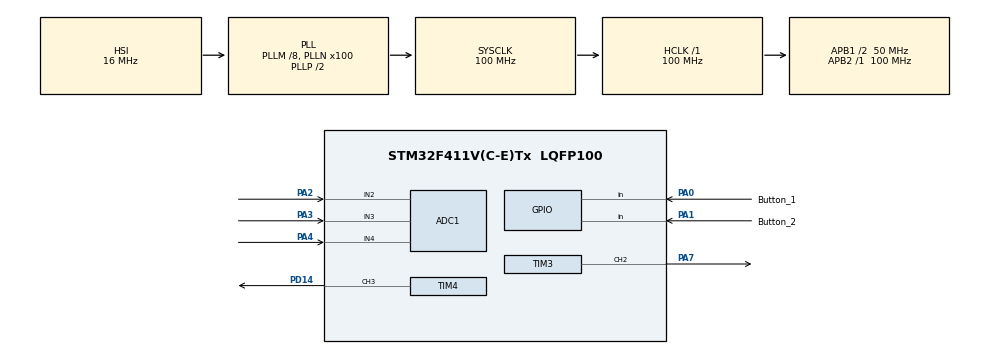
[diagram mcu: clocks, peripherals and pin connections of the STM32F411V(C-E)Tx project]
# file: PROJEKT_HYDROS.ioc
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ADC1.Channel-0\#ChannelRegularConversion=ADC_CHANNEL_2
ADC1.Channel-1\#ChannelRegularConversion=ADC_CHANNEL_3
ADC1.Channel-2\#ChannelRegularConversion=ADC_CHANNEL_4
ADC1.ClockPrescaler=ADC_CLOCKPRESCALER_PCLK_DIV8
ADC1.ContinuousConvMode=ENABLE
ADC1.DMAContinuousRequests=ENABLE
ADC1.NbrOfConversion=3
ADC1.NbrOfConversionFlag=1
ADC1.Rank-0\#ChannelRegularConversion=1
ADC1.Rank-1\#ChannelRegularConversion=2
ADC1.Rank-2\#ChannelRegularConversion=3
ADC1.SamplingTime-0\#ChannelRegularConversion=ADC_SAMPLETIME_480CYCLES
ADC1.SamplingTime-1\#ChannelRegularConversion=ADC_SAMPLETIME_480CYCLES
ADC1.SamplingTime-2\#ChannelRegularConversion=ADC_SAMPLETIME_480CYCLES
ADC1.ScanConvMode=ENABLE
ADC1.master=1
Dma.ADC1.1.Direction=DMA_PERIPH_TO_MEMORY
Dma.ADC1.1.FIFOMode=DMA_FIFOMODE_DISABLE
Dma.ADC1.1.Instance=DMA2_Stream0
Dma.ADC1.1.MemDataAlignment=DMA_MDATAALIGN_HALFWORD
Dma.ADC1.1.MemInc=DMA_MINC_ENABLE
Dma.ADC1.1.Mode=DMA_CIRCULAR
Dma.ADC1.1.PeriphDataAlignment=DMA_PDATAALIGN_HALFWORD
Dma.ADC1.1.PeriphInc=DMA_PINC_DISABLE
Dma.ADC1.1.Priority=DMA_PRIORITY_LOW
Dma.Request0=TIM4_CH3
Dma.Request1=ADC1
Dma.Request2=TIM3_CH2
Dma.TIM3_CH2.2.Direction=DMA_MEMORY_TO_PERIPH
Dma.TIM3_CH2.2.FIFOMode=DMA_FIFOMODE_DISABLE
Dma.TIM3_CH2.2.Instance=DMA1_Stream5
Dma.TIM3_CH2.2.MemDataAlignment=DMA_MDATAALIGN_HALFWORD
Dma.TIM3_CH2.2.MemInc=DMA_MINC_ENABLE
Dma.TIM3_CH2.2.Mode=DMA_CIRCULAR
Dma.TIM3_CH2.2.PeriphDataAlignment=DMA_PDATAALIGN_HALFWORD
Dma.TIM3_CH2.2.PeriphInc=DMA_PINC_DISABLE
Dma.TIM3_CH2.2.Priority=DMA_PRIORITY_LOW
Dma.TIM4_CH3.0.Direction=DMA_MEMORY_TO_PERIPH
Dma.TIM4_CH3.0.FIFOMode=DMA_FIFOMODE_DISABLE
Dma.TIM4_CH3.0.Instance=DMA1_Stream7
Dma.TIM4_CH3.0.MemDataAlignment=DMA_MDATAALIGN_HALFWORD
Dma.TIM4_CH3.0.MemInc=DMA_MINC_ENABLE
Dma.TIM4_CH3.0.Mode=DMA_CIRCULAR
Dma.TIM4_CH3.0.PeriphDataAlignment=DMA_PDATAALIGN_HALFWORD
Dma.TIM4_CH3.0.PeriphInc=DMA_PINC_DISABLE
Dma.TIM4_CH3.0.Priority=DMA_PRIORITY_LOW
Mcu.Family=STM32F4
Mcu.Name=STM32F411V(C-E)Tx
Mcu.Package=LQFP100
NVIC.DMA1_Stream5_IRQn=true\:0\:0\:false\:false\:true\:false\:true
NVIC.DMA1_Stream7_IRQn=true\:0\:0\:false\:false\:true\:true\:true
NVIC.DMA2_Stream0_IRQn=true\:0\:0\:false\:false\:true\:false\:true
NVIC.PriorityGroup=NVIC_PRIORITYGROUP_4
PA0-WKUP.GPIO_Label=Button_1
PA0-WKUP.GPIO_PuPd=GPIO_PULLUP
PA0-WKUP.Signal=GPIO_Input
PA1.GPIO_Label=Button_2
PA1.GPIO_PuPd=GPIO_PULLUP
PA1.Signal=GPIO_Input
PA2.Signal=ADCx_IN2
PA3.Signal=ADCx_IN3
PA4.Signal=ADCx_IN4
PA7.Signal=S_TIM3_CH2
PD14.Signal=S_TIM4_CH3
ProjectManager.HeapSize=0x400
ProjectManager.StackSize=0x200
ProjectManager.TargetToolchain=SW4STM32
RCC.48MHZClocksFreq_Value=50000000
RCC.AHBFreq_Value=100000000
RCC.APB1CLKDivider=RCC_HCLK_DIV2
RCC.APB1Freq_Value=50000000
RCC.APB1TimCLKDivider=1
RCC.APB1TimFreq_Value=50000000
RCC.APB2Freq_Value=100000000
RCC.APB2TimFreq_Value=100000000
RCC.CortexFreq_Value=100000000
RCC.HCLKFreq_Value=100000000
RCC.HSE_VALUE=25000000
RCC.HSI_VALUE=16000000
RCC.LSE_VALUE=32768
RCC.PLLM=8
RCC.PLLN=100
RCC.SYSCLKFreq_VALUE=100000000
RCC.SYSCLKSource=RCC_SYSCLKSOURCE_PLLCLK
RCC.VCOOutputFreq_Value=200000000
SH.ADCx_IN2.0=ADC1_IN2,IN2
SH.ADCx_IN3.0=ADC1_IN3,IN3
SH.ADCx_IN4.0=ADC1_IN4,IN4
SH.S_TIM3_CH2.0=TIM3_CH2,PWM Generation2 CH2
SH.S_TIM4_CH3.0=TIM4_CH3,PWM Generation3 CH3
TIM3.Channel-PWM\ Generation2\ CH2=TIM_CHANNEL_2
TIM3.Period=99
TIM3.Prescaler=4999
TIM4.Channel-PWM\ Generation3\ CH3=TIM_CHANNEL_3
TIM4.OCPolarity_3=TIM_OCPOLARITY_HIGH
TIM4.Period=99
TIM4.Prescaler=4999
VP_TIM4_VS_ClockSourceINT.Mode=Internal
board=05_PWM

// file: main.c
/**
 ******************************************************************************
 * File Name          : main.c
 * Description        : Main program body
 ******************************************************************************
 *
 * COPYRIGHT(c) 2020 STMicroelectronics
 *
 * Redistribution and use in source and binary forms, with or without modification,
 * are permitted provided that the following conditions are met:
 *   1. Redistributions of source code must retain the above copyright notice,
 *      this list of conditions and the following disclaimer.
 *   2. Redistributions in binary form must reproduce the above copyright notice,
 *      this list of conditions and the following disclaimer in the documentation
 *      and/or other materials provided with the distribution.
 *   3. Neither the name of STMicroelectronics nor the names of its contributors
 *      may be used to endorse or promote products derived from this software
 *      without specific prior written permission.
 *
 * THIS SOFTWARE IS PROVIDED BY THE COPYRIGHT HOLDERS AND CONTRIBUTORS "AS IS"
 * AND ANY EXPRESS OR IMPLIED WARRANTIES, INCLUDING, BUT NOT LIMITED TO, THE
 * IMPLIED WARRANTIES OF MERCHANTABILITY AND FITNESS FOR A PARTICULAR PURPOSE ARE
 * DISCLAIMED. IN NO EVENT SHALL THE COPYRIGHT HOLDER OR CONTRIBUTORS BE LIABLE
 * FOR ANY DIRECT, INDIRECT, INCIDENTAL, SPECIAL, EXEMPLARY, OR CONSEQUENTIAL
 * DAMAGES (INCLUDING, BUT NOT LIMITED TO, PROCUREMENT OF SUBSTITUTE GOODS OR
 * SERVICES; LOSS OF USE, DATA, OR PROFITS; OR BUSINESS INTERRUPTION) HOWEVER
 * CAUSED AND ON ANY THEORY OF LIABILITY, WHETHER IN CONTRACT, STRICT LIABILITY,
 * OR TORT (INCLUDING NEGLIGENCE OR OTHERWISE) ARISING IN ANY WAY OUT OF THE USE
 * OF THIS SOFTWARE, EVEN IF ADVISED OF THE POSSIBILITY OF SUCH DAMAGE.
 *
 ******************************************************************************
 */
#include "stm32f4xx_hal.h"

ADC_HandleTypeDef hadc1;
DMA_HandleTypeDef hdma_adc1;

TIM_HandleTypeDef htim3;
TIM_HandleTypeDef htim4;
DMA_HandleTypeDef hdma_tim3_ch2;
DMA_HandleTypeDef hdma_tim4_ch3;

/* USER CODE BEGIN PV */
/* Private variables ---------------------------------------------------------*/
volatile uint16_t Engine = 0; // Wypelnienie sygna³u na silniku
uint8_t Gas100 = 0; //Pe³ny gaz
uint8_t Gas50 = 0; //Pó³gaz

/* USER CODE END PV */

void SystemClock_Config(void);
static void MX_GPIO_Init(void);
static void MX_DMA_Init(void);
static void MX_TIM4_Init(void);
void SystemClock_Config(void);
static void MX_ADC1_Init(void);
static void MX_TIM3_Init(void);

void HAL_TIM_MspPostInit(TIM_HandleTypeDef *htim);

/* USER CODE BEGIN PFP */
/* Private function prototypes -----------------------------------------------*/

void HAL_SYSTICK_Callback(void) {
	static uint8_t InterruptPrescaler = 0; // licznik przerwan
	static uint8_t RisingUp = 1; // Flaga kierunku zliczania
	static uint8_t RisingDown = 1;
	if (Gas100 == 1) {
		++InterruptPrescaler;

		if (InterruptPrescaler == 15) { //10 przerwañ na sekundê
			InterruptPrescaler = 0;  // Zerowanie pzerwañ

			if (Engine == 100) { // Jezeli wypelnienie jest rowne 100
				RisingUp = 0; // Stop zliczania
			}
			else if (Engine <= 50) { // Jezeli wypelnienie mniejsze lub rowne 50
				RisingUp = 1; // Zliczanie w gore
			}
			if (RisingUp == 1 && Gas50 == 0) // Jezeli zliczamy w gore
				++Engine; // Ogieñ na t³oki
		}
	}

	if (Gas100 == 1 && Gas50 == 1) { // Zdejmuje napiêcie z silnika
		++InterruptPrescaler;			//Zliczanie przerwañ pó³gazu
		if (InterruptPrescaler == 5) { //Zliczamy 5 przerwañ
			InterruptPrescaler = 0;
			if (Engine > 50) {	//Je¿eli wype³nienie wiêksze od 50
				RisingDown = 1; //Flaga zliczania
			} else if (Engine == 50) { //Je¿eli wype³nienie = 50
				RisingDown = 0; //Stop zliczania
			}
			if (RisingDown == 1) {
				--Engine; //Zdejmowanie wype³nienia z silnika
			}
		}
	}

	if (Gas100 == 0) { //Je¿eli DM Button = 0 Silnik nie startuje
		Engine = 0;
	}
}
//Softstart - koniec
//	SignalState = HAL_GPIO_ReadPin(GPIOC, GPIO_PIN_1);
//}
/* USER CODE END PFP */

int main(void) {

	/* MCU Configuration----------------------------------------------------------*/

	/* Reset of all peripherals, Initializes the Flash interface and the Systick. */
	HAL_Init();

	/* Configure the system clock */
	SystemClock_Config();

	/* Initialize all configured peripherals */
	MX_GPIO_Init();
	MX_DMA_Init();
	MX_TIM4_Init();
	SystemClock_Config();
	MX_ADC1_Init();
	MX_TIM3_Init();

	/* USER CODE BEGIN 2 */

	HAL_TIM_PWM_Start_DMA(&htim4, TIM_CHANNEL_3, &Engine, 1);

	/* USER CODE END 2 */

	/* Infinite loop */
	/* USER CODE BEGIN WHILE */
	while (1) {
		// OBS£UGA PRZYCISKÓW PRZEZ PULLING - POCZ¥TEK
		if (HAL_GPIO_ReadPin(Button_1_GPIO_Port, Button_1_Pin) == GPIO_PIN_RESET
				&& Gas50 == 0)
			Gas100 = 1; //Uruchomienienie Mode 1 daj¹cego 100% wype³nienia
		if (HAL_GPIO_ReadPin(Button_1_GPIO_Port, Button_1_Pin) == GPIO_PIN_SET
				&& Gas100 == 1)
			Gas100 = 0; //Wy³¹czenie Mode 2 daj¹cego 100% wype³nienia
		if (HAL_GPIO_ReadPin(Button_2_GPIO_Port, Button_2_Pin) == GPIO_PIN_RESET
				&& Gas100 == 1)
			Gas50 = 1; //Uruchomienie Mode 2 daj¹cego 50% wype³nienia
		if (HAL_GPIO_ReadPin(Button_2_GPIO_Port, Button_2_Pin) == GPIO_PIN_SET
				&& Gas50 == 1)
			Gas50 = 0; //Wy³¹czenie Mode 2 daj¹cego 50% wype³nienia
		//OBS£UGA PRZYCISKÓW PRZEZ PULLING - KONIEC

		/* USER CODE END WHILE */

	}

}

/** System Clock Configuration
 */
void SystemClock_Config(void) {

	RCC_OscInitTypeDef RCC_OscInitStruct;
	RCC_ClkInitTypeDef RCC_ClkInitStruct;

	__PWR_CLK_ENABLE()
	;

	__HAL_PWR_VOLTAGESCALING_CONFIG(PWR_REGULATOR_VOLTAGE_SCALE1);

	RCC_OscInitStruct.OscillatorType = RCC_OSCILLATORTYPE_HSI;
	RCC_OscInitStruct.HSIState = RCC_HSI_ON;
	RCC_OscInitStruct.HSICalibrationValue = 16;
	RCC_OscInitStruct.PLL.PLLState = RCC_PLL_ON;
	RCC_OscInitStruct.PLL.PLLSource = RCC_PLLSOURCE_HSI;
	RCC_OscInitStruct.PLL.PLLM = 8;
	RCC_OscInitStruct.PLL.PLLN = 100;
	RCC_OscInitStruct.PLL.PLLP = RCC_PLLP_DIV2;
	RCC_OscInitStruct.PLL.PLLQ = 4;
	HAL_RCC_OscConfig(&RCC_OscInitStruct);

	RCC_ClkInitStruct.ClockType = RCC_CLOCKTYPE_HCLK | RCC_CLOCKTYPE_SYSCLK
			| RCC_CLOCKTYPE_PCLK1 | RCC_CLOCKTYPE_PCLK2;
	RCC_ClkInitStruct.SYSCLKSource = RCC_SYSCLKSOURCE_PLLCLK;
	RCC_ClkInitStruct.AHBCLKDivider = RCC_SYSCLK_DIV1;
	RCC_ClkInitStruct.APB1CLKDivider = RCC_HCLK_DIV2;
	RCC_ClkInitStruct.APB2CLKDivider = RCC_HCLK_DIV1;
	HAL_RCC_ClockConfig(&RCC_ClkInitStruct, FLASH_LATENCY_3);

	HAL_SYSTICK_Config(HAL_RCC_GetHCLKFreq() / 1000);

	HAL_SYSTICK_CLKSourceConfig(SYSTICK_CLKSOURCE_HCLK);

	/* SysTick_IRQn interrupt configuration */
	HAL_NVIC_SetPriority(SysTick_IRQn, 0, 0);
}

/* ADC1 init function */
void MX_ADC1_Init(void) {

	ADC_ChannelConfTypeDef sConfig;

	/**Configure the global features of the ADC (Clock, Resolution, Data Alignment and number of conversion)
	 */
	hadc1.Instance = ADC1;
	hadc1.Init.ClockPrescaler = ADC_CLOCKPRESCALER_PCLK_DIV8;
	hadc1.Init.Resolution = ADC_RESOLUTION12b;
	hadc1.Init.ScanConvMode = ENABLE;
	hadc1.Init.ContinuousConvMode = ENABLE;
	hadc1.Init.DiscontinuousConvMode = DISABLE;
	hadc1.Init.ExternalTrigConvEdge = ADC_EXTERNALTRIGCONVEDGE_NONE;
	hadc1.Init.DataAlign = ADC_DATAALIGN_RIGHT;
	hadc1.Init.NbrOfConversion = 3;
	hadc1.Init.DMAContinuousRequests = ENABLE;
	hadc1.Init.EOCSelection = EOC_SINGLE_CONV;
	HAL_ADC_Init(&hadc1);

	/**Configure for the selected ADC regular channel its corresponding rank in the sequencer and its sample time.
	 */
	sConfig.Channel = ADC_CHANNEL_2;
	sConfig.Rank = 1;
	sConfig.SamplingTime = ADC_SAMPLETIME_480CYCLES;
	HAL_ADC_ConfigChannel(&hadc1, &sConfig);

	/**Configure for the selected ADC regular channel its corresponding rank in the sequencer and its sample time.
	 */
	sConfig.Channel = ADC_CHANNEL_3;
	sConfig.Rank = 2;
	HAL_ADC_ConfigChannel(&hadc1, &sConfig);

	/**Configure for the selected ADC regular channel its corresponding rank in the sequencer and its sample time.
	 */
	sConfig.Channel = ADC_CHANNEL_4;
	sConfig.Rank = 3;
	HAL_ADC_ConfigChannel(&hadc1, &sConfig);

}

/* TIM3 init function */
void MX_TIM3_Init(void) {

	TIM_MasterConfigTypeDef sMasterConfig;
	TIM_OC_InitTypeDef sConfigOC;

	htim3.Instance = TIM3;
	htim3.Init.Prescaler = 4999;
	htim3.Init.CounterMode = TIM_COUNTERMODE_UP;
	htim3.Init.Period = 99;
	htim3.Init.ClockDivision = TIM_CLOCKDIVISION_DIV1;
	HAL_TIM_PWM_Init(&htim3);

	sMasterConfig.MasterOutputTrigger = TIM_TRGO_RESET;
	sMasterConfig.MasterSlaveMode = TIM_MASTERSLAVEMODE_DISABLE;
	HAL_TIMEx_MasterConfigSynchronization(&htim3, &sMasterConfig);

	sConfigOC.OCMode = TIM_OCMODE_PWM1;
	sConfigOC.Pulse = 0;
	sConfigOC.OCPolarity = TIM_OCPOLARITY_HIGH;
	sConfigOC.OCFastMode = TIM_OCFAST_DISABLE;
	HAL_TIM_PWM_ConfigChannel(&htim3, &sConfigOC, TIM_CHANNEL_2);

	HAL_TIM_MspPostInit(&htim3);

}

/* TIM4 init function */
void MX_TIM4_Init(void) {

	TIM_ClockConfigTypeDef sClockSourceConfig;
	TIM_MasterConfigTypeDef sMasterConfig;
	TIM_OC_InitTypeDef sConfigOC;

	htim4.Instance = TIM4;
	htim4.Init.Prescaler = 4999;
	htim4.Init.CounterMode = TIM_COUNTERMODE_UP;
	htim4.Init.Period = 99;
	htim4.Init.ClockDivision = TIM_CLOCKDIVISION_DIV1;
	HAL_TIM_Base_Init(&htim4);

	sClockSourceConfig.ClockSource = TIM_CLOCKSOURCE_INTERNAL;
	HAL_TIM_ConfigClockSource(&htim4, &sClockSourceConfig);

	HAL_TIM_PWM_Init(&htim4);

	sMasterConfig.MasterOutputTrigger = TIM_TRGO_RESET;
	sMasterConfig.MasterSlaveMode = TIM_MASTERSLAVEMODE_DISABLE;
	HAL_TIMEx_MasterConfigSynchronization(&htim4, &sMasterConfig);

	sConfigOC.OCMode = TIM_OCMODE_PWM1;
	sConfigOC.Pulse = 0;
	sConfigOC.OCPolarity = TIM_OCPOLARITY_HIGH;
	sConfigOC.OCFastMode = TIM_OCFAST_DISABLE;
	HAL_TIM_PWM_ConfigChannel(&htim4, &sConfigOC, TIM_CHANNEL_3);

	HAL_TIM_MspPostInit(&htim4);

}

void MX_DMA_Init(void) {
	/* DMA controller clock enable */
	__DMA1_CLK_ENABLE()
	;
	__DMA2_CLK_ENABLE()
	;

	/* DMA interrupt init */
	HAL_NVIC_SetPriority(DMA1_Stream5_IRQn, 0, 0);
	HAL_NVIC_EnableIRQ(DMA1_Stream5_IRQn);
	HAL_NVIC_SetPriority(DMA1_Stream7_IRQn, 0, 0);
	HAL_NVIC_EnableIRQ(DMA1_Stream7_IRQn);
	HAL_NVIC_SetPriority(DMA2_Stream0_IRQn, 0, 0);
	HAL_NVIC_EnableIRQ(DMA2_Stream0_IRQn);

}

/** Configure pins
 */
void MX_GPIO_Init(void) {

	GPIO_InitTypeDef GPIO_InitStruct;

	/* GPIO Ports Clock Enable */
	__GPIOA_CLK_ENABLE()
	;
	__GPIOD_CLK_ENABLE()
	;

	/*Configure GPIO pins : Button_1_Pin Button_2_Pin */
	GPIO_InitStruct.Pin = Button_1_Pin | Button_2_Pin;
	GPIO_InitStruct.Mode = GPIO_MODE_INPUT;
	GPIO_InitStruct.Pull = GPIO_PULLUP;
	HAL_GPIO_Init(GPIOA, &GPIO_InitStruct);

}

/************************ (C) COPYRIGHT STMicroelectronics *****END OF FILE****/
